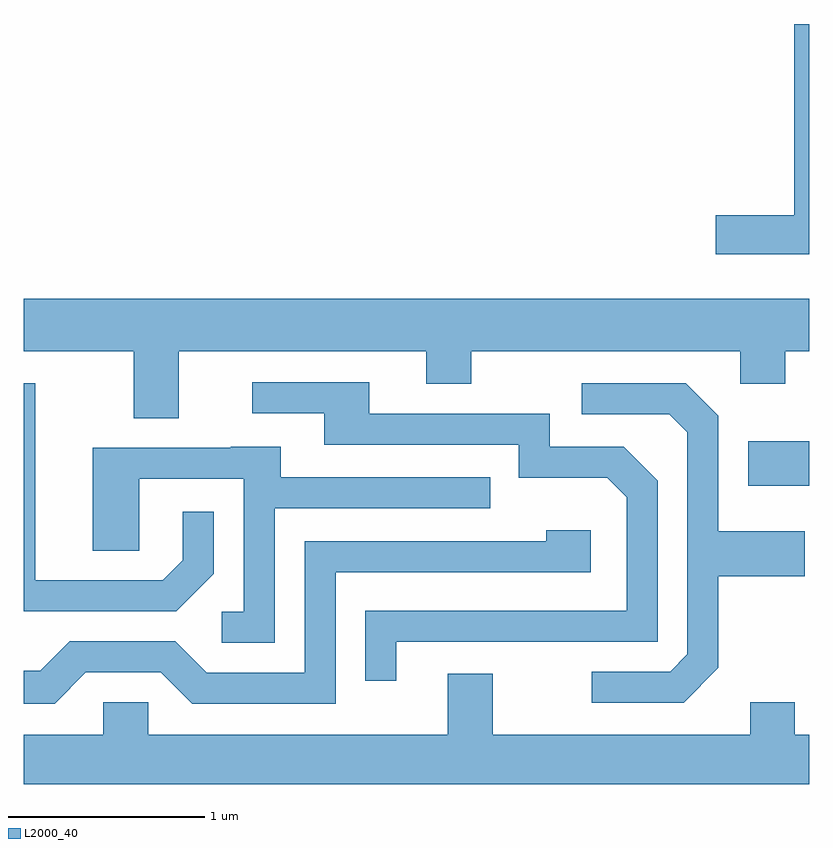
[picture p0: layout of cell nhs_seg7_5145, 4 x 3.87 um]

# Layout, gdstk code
import gdstk
lib = gdstk.Library(unit=1e-6, precision=1e-09)
def R(c, l, rs):  # rectangles x0, y0, x1, y1
    for r in rs: c.add(gdstk.rectangle(r[:2], r[2:], *l))
def P(c, l, *ps):  # polygons
    for p in ps: c.add(gdstk.Polygon(p, *l))
L2000_40 = (2000, 40)

nhs_seg7_5145 = lib.new_cell('nhs_seg7_5145')
R(nhs_seg7_5145, L2000_40, [(345.301,1795.771,345.611,1795.999)])
P(nhs_seg7_5145, L2000_40, [(345.611,1798.124),(345.536,1798.124),(345.536,1797.149),(345.136,1797.149),(345.136,1796.951),(345.611,1796.951)],
  [(342.399,1796.456),(343.661,1796.456),(343.661,1796.291),(343.889,1796.291),(343.889,1796.456),(345.261,1796.456),(345.261,1796.291),(345.489,1796.291),(345.489,1796.456),(345.611,1796.456),(345.611,1796.724),(341.611,1796.724),(341.611,1796.456),(342.171,1796.456),(342.171,1796.116),(342.399,1796.116)],
  [(343.509,1794.976),(344.839,1794.976),(344.839,1795.797),(344.667,1795.969),(344.289,1795.969),(344.289,1796.139),(343.369,1796.139),(343.369,1796.299),(342.773,1796.299),(342.773,1796.141),(343.141,1796.141),(343.141,1795.981),(344.131,1795.981),(344.131,1795.811),(344.584,1795.811),(344.681,1795.714),(344.681,1795.134),(343.351,1795.134),(343.351,1794.778),(343.509,1794.778)],
  [(345.149,1794.844),(345.149,1795.311),(345.589,1795.311),(345.589,1795.539),(345.149,1795.539),(345.149,1796.127),(344.982,1796.294),(344.453,1796.294),(344.453,1796.136),(344.899,1796.136),(344.991,1796.044),(344.991,1794.912),(344.904,1794.824),(344.503,1794.824),(344.503,1794.666),(344.972,1794.666)],
  [(342.579,1795.324),(342.579,1795.638),(342.421,1795.638),(342.421,1795.392),(342.319,1795.289),(341.669,1795.289),(341.669,1796.294),(341.611,1796.294),(341.611,1795.131),(342.387,1795.131)],
  [(342.889,1795.656),(343.988,1795.656),(343.988,1795.814),(342.919,1795.814),(342.919,1795.969),(342.665,1795.969),(342.665,1795.964),(341.961,1795.964),(341.961,1795.441),(342.199,1795.441),(342.199,1795.806),(342.731,1795.806),(342.731,1795.129),(342.618,1795.129),(342.618,1794.971),(342.889,1794.971)],
  [(341.927,1794.821),(342.309,1794.821),(342.469,1794.661),(343.199,1794.661),(343.199,1795.331),(344.499,1795.331),(344.499,1795.544),(344.271,1795.544),(344.271,1795.489),(343.041,1795.489),(343.041,1794.819),(342.542,1794.819),(342.382,1794.979),(341.844,1794.979),(341.694,1794.829),(341.611,1794.829),(341.611,1794.661),(341.767,1794.661)],
  [(345.611,1794.504),(345.539,1794.504),(345.539,1794.669),(345.311,1794.669),(345.311,1794.504),(343.999,1794.504),(343.999,1794.814),(343.771,1794.814),(343.771,1794.504),(342.244,1794.504),(342.244,1794.669),(342.016,1794.669),(342.016,1794.504),(341.611,1794.504),(341.611,1794.252),(345.611,1794.252)])

lib.write_gds('nhs_seg7_5145.gds')
